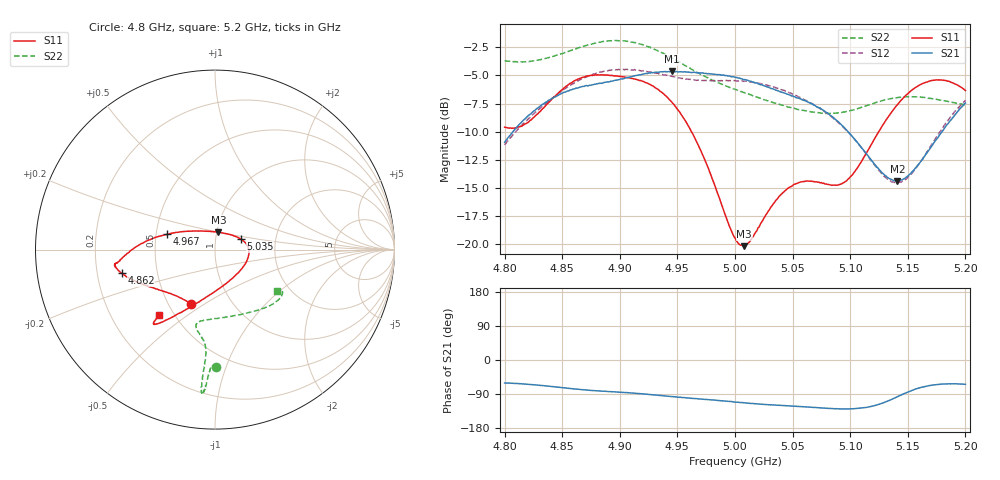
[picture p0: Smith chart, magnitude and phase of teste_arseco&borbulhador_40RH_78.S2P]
! Network Analyzer HP8722D
! Hewlett-Packard
! Data name: Linha & Wilkinson
! Saver's name: Rodrigo Anjos
! Comments: Teste da utilização de aquisição
! continua pelo VNA HP8722D
! Time and date: 15/4/2025 17:00
!  Frequency  S11  S21  S12  S22
# HZ  S  MA R 50
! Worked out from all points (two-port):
!   401 points, 4.8 GHz to 5.2 GHz, reference 50 ohm
!   highest |S21| = -4.65 dB at 4.945 GHz (marker M1); lowest = -14.4 dB at 5.141 GHz (marker M2)
!   |S21| within 3 dB of the highest: 4.832 GHz to 5.069 GHz (237 MHz wide, 4.79 % of centre); 5.198286 GHz to end of sweep
!   lowest |S11| = -20.2 dB at 5.008 GHz (marker M3), VSWR 1.22, Z = 50.9 + j9.87 ohm
!   |S11| at or under -10 dB: 4.962 GHz to 5.125 GHz (162.7 MHz wide, 3.23 % of centre)
!   |S22| runs from -8.4 to -1.9 dB; largest |S21 - S12| = 0.88
!   S11 on the Smith chart (normalised r, x): 4.8 GHz: 0.65, -0.44; 4.862 GHz: 0.31, -0.11; 4.967 GHz: 0.57, +0.11; 5.035 GHz: 1.32, +0.16; 5.2 GHz: 0.41, -0.40
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4.8e9  0.3307 -113.9  0.2833 -60.8  0.2759 -175.1  0.6542 -89.5
4.819e9  0.3447 -133.6  0.3655 -63.8  0.3538 -173.3  0.6486 -91.2
4.84e9  0.435 -152.8  0.4404 -69.6  0.4397 -173.7  0.679 -92.6
4.862e9  0.5362 -165.8  0.4942 -76.7  0.5258 -176.4  0.739 -93.6
4.867e9  0.5502 -167.6  0.5013 -78.3  0.543 -177.4  0.7544 -93.8
4.903e9  0.5541 -172.2  0.5426 -85.5  0.5986 175.1  0.8012 -95.3
4.934e9  0.4837 -178.0  0.5814 -93.5  0.5711 171.9  0.7195 -95.6
4.945e9  0.4288 177.0  0.5858 -96.6  0.5576 172.0  0.6729 -95.4
4.967e9  0.283 162.4  0.5783 -102.1  0.5347 173.9  0.5798 -94.9
5e9  0.1066 106.7  0.5521 -111.0  0.5335 176.4  0.4881 -99.2
5.008e9  0.09776 79.0  0.5397 -113.0  0.53 176.4  0.4715 -101.1
5.035e9  0.1551 22.7  0.4846 -119.0  0.4968 175.0  0.4235 -103.8
5.05e9  0.1818 6.7  0.4558 -121.6  0.4641 174.3  0.4032 -100.2
5.067e9  0.19 -11.7  0.4198 -124.7  0.4215 173.9  0.3863 -91.8
5.087e9  0.1826 -44.2  0.3586 -128.7  0.3567 173.8  0.3819 -77.0
5.097e9  0.1912 -65.3  0.3206 -129.0  0.3195 174.5  0.389 -68.5
5.134e9  0.3736 -116.1  0.1954 -106.7  0.1921 -159.3  0.442 -43.4
5.141e9  0.4166 -120.2  0.1908 -96.7  0.1872 -148.4  0.448 -40.2
5.153e9  0.4818 -125.1  0.2076 -80.8  0.2046 -129.9  0.4522 -36.0
5.17e9  0.5328 -128.6  0.2689 -66.8  0.2737 -113.0  0.4447 -32.2
5.184e9  0.5315 -130.0  0.3397 -63.0  0.35 -107.2  0.4316 -31.2
5.2e9  0.4821 -130.4  0.4238 -64.1  0.4356 -106.1  0.4154 -33.4
